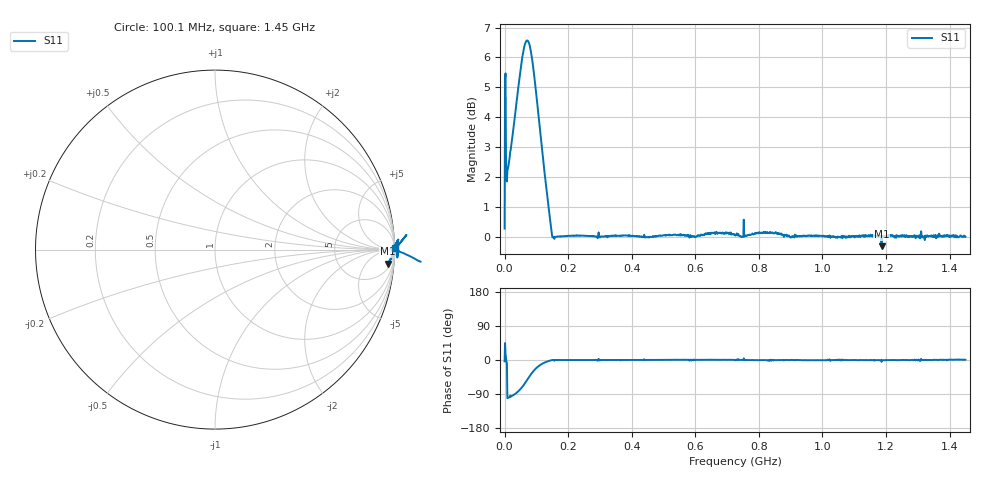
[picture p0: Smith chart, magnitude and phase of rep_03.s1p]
! Created with skrf 1.11.0 (http://scikit-rf.org).
# Hz S RI R 50.0
!freq ReS11 ImS11
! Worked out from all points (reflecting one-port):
!   1001 points, 50 kHz to 1.45 GHz, reference 50 ohm
!   lowest |S11| = -0.3 dB at 1.186 GHz (marker M1), VSWR 58.46, Z = 434 - j1.04e+03 ohm
!   phase of S11 starts at -3 deg and turns +4 deg over the sweep
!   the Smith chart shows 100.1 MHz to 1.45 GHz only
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50000  1.032 -0.0608
8749700  -0.2365 -1.267
1.019965e7  -0.2246 -1.279
1.16496e7  -0.2144 -1.293
1.599945e7  -0.1842 -1.347
2.759905e7  -0.0715 -1.514
3.77487e7  0.1001 -1.68
4.64484e7  0.3246 -1.809
5.659805e7  0.6876 -1.888
6.529775e7  1.063 -1.823
7.54474e7  1.445 -1.545
8.269715e7  1.609 -1.258
8.99469e7  1.665 -0.9644
9.86466e7  1.624 -0.661
1.058964e8  1.543 -0.4689
1.14596e8  1.425 -0.2971
1.247457e8  1.286 -0.1616
1.363453e8  1.145 -0.0672
1.493948e8  1.007 -0.00218
1.812938e8  1.004 -0.00191
3.625375e8  1.005 0.000688
5.437812e8  1.008 0.00996
7.25025e8  1.007 -0.0112
9.062688e8  1.001 -0.00244
1.087512e9  0.9995 -0.00609
1.186109e9  0.9631 -0.0792
1.268756e9  1.002 -0.00341
1.45e9  1.002 0.0113
